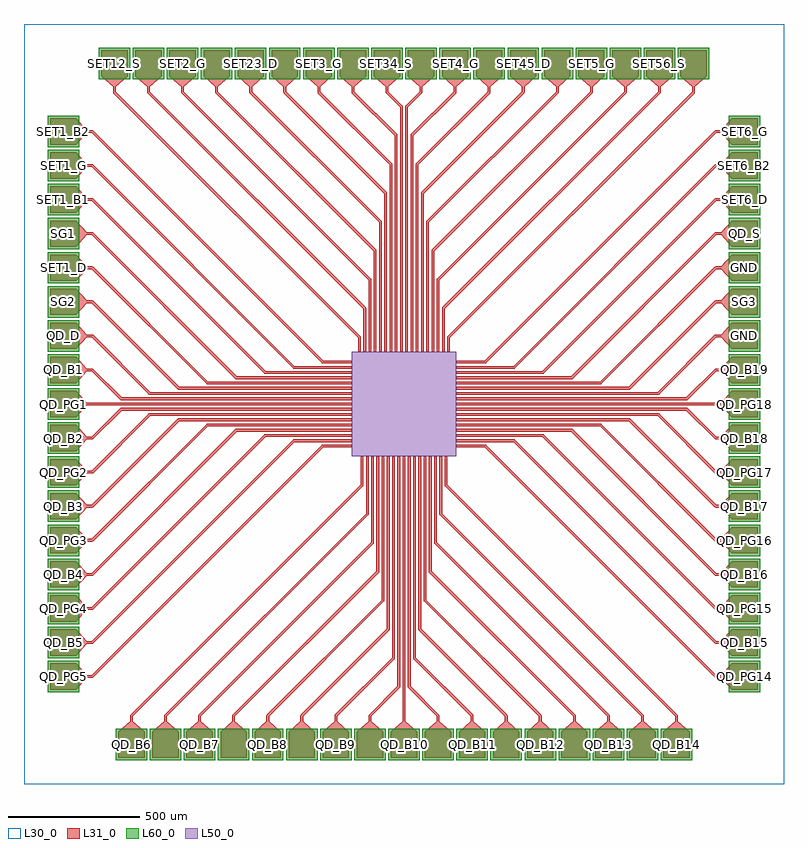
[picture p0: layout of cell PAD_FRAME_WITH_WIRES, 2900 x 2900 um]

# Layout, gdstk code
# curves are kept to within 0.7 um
import gdstk
lib = gdstk.Library(unit=1e-6, precision=1e-09)
def R(c, l, rs):  # rectangles x0, y0, x1, y1
    for r in rs: c.add(gdstk.rectangle(r[:2], r[2:], *l))
def A(c, l, x, y, w, h, nx, ny, dx, dy):  # array of equal rectangles
    R(c, l, [(x+i*dx, y+j*dy, x+i*dx+w, y+j*dy+h) for i in range(nx) for j in range(ny)])
def P(c, l, *ps):  # polygons
    for p in ps: c.add(gdstk.Polygon(p, *l))
L30_0 = (30, 0)
L31_0 = (31, 0)
L50_0 = (50, 0)
L60_0 = (60, 0)

pad_frame_with_wires = lib.new_cell('PAD_FRAME_WITH_WIRES')
R(pad_frame_with_wires, L30_0, [(0,0,2900,2900)])
A(pad_frame_with_wires, L31_0, 360, 100, 100, 100, 17, 1, 130, 0)
A(pad_frame_with_wires, L31_0, 100, 360, 100, 100, 1, 17, 0, 130)
A(pad_frame_with_wires, L31_0, 2700, 360, 100, 100, 1, 17, 0, 130)
A(pad_frame_with_wires, L31_0, 295, 2700, 100, 100, 18, 1, 130, 0)
P(pad_frame_with_wires, L31_0, [(295,2700),(395,2700),(350,2660),(340,2660)],
  [(425,2700),(525,2700),(480,2660),(470,2660)],
  [(555,2700),(655,2700),(610,2660),(600,2660)],
  [(685,2700),(785,2700),(740,2660),(730,2660)],
  [(815,2700),(915,2700),(870,2660),(860,2660)],
  [(945,2700),(1045,2700),(1000,2660),(990,2660)],
  [(1075,2700),(1175,2700),(1130,2660),(1120,2660)],
  [(1205,2700),(1305,2700),(1260,2660),(1250,2660)],
  [(1335,2700),(1435,2700),(1390,2660),(1380,2660)],
  [(1465,2700),(1565,2700),(1520,2660),(1510,2660)],
  [(1595,2700),(1695,2700),(1650,2660),(1640,2660)],
  [(1725,2700),(1825,2700),(1780,2660),(1770,2660)],
  [(1855,2700),(1955,2700),(1910,2660),(1900,2660)],
  [(1985,2700),(2085,2700),(2040,2660),(2030,2660)],
  [(2115,2700),(2215,2700),(2170,2660),(2160,2660)],
  [(2245,2700),(2345,2700),(2300,2660),(2290,2660)],
  [(2375,2700),(2475,2700),(2430,2660),(2420,2660)],
  [(2505,2700),(2605,2700),(2560,2660),(2550,2660)],
  [(360,200),(460,200),(415,240),(405,240)],
  [(490,200),(590,200),(545,240),(535,240)],
  [(620,200),(720,200),(675,240),(665,240)],
  [(750,200),(850,200),(805,240),(795,240)],
  [(880,200),(980,200),(935,240),(925,240)],
  [(1010,200),(1110,200),(1065,240),(1055,240)],
  [(1140,200),(1240,200),(1195,240),(1185,240)],
  [(1270,200),(1370,200),(1325,240),(1315,240)],
  [(1400,200),(1500,200),(1455,240),(1445,240)],
  [(1530,200),(1630,200),(1585,240),(1575,240)],
  [(1660,200),(1760,200),(1715,240),(1705,240)],
  [(1790,200),(1890,200),(1845,240),(1835,240)],
  [(1920,200),(2020,200),(1975,240),(1965,240)],
  [(2050,200),(2150,200),(2105,240),(2095,240)],
  [(2180,200),(2280,200),(2235,240),(2225,240)],
  [(2310,200),(2410,200),(2365,240),(2355,240)],
  [(2440,200),(2540,200),(2495,240),(2485,240)],
  [(200,2440),(200,2540),(240,2495),(240,2485)],
  [(200,2310),(200,2410),(240,2365),(240,2355)],
  [(200,2180),(200,2280),(240,2235),(240,2225)],
  [(200,2050),(200,2150),(240,2105),(240,2095)],
  [(200,1920),(200,2020),(240,1975),(240,1965)],
  [(200,1790),(200,1890),(240,1845),(240,1835)],
  [(200,1660),(200,1760),(240,1715),(240,1705)],
  [(200,1530),(200,1630),(240,1585),(240,1575)],
  [(200,1400),(200,1500),(240,1455),(240,1445)],
  [(200,1270),(200,1370),(240,1325),(240,1315)],
  [(200,1140),(200,1240),(240,1195),(240,1185)],
  [(200,1010),(200,1110),(240,1065),(240,1055)],
  [(200,880),(200,980),(240,935),(240,925)],
  [(200,750),(200,850),(240,805),(240,795)],
  [(200,620),(200,720),(240,675),(240,665)],
  [(200,490),(200,590),(240,545),(240,535)],
  [(200,360),(200,460),(240,415),(240,405)],
  [(2700,2440),(2700,2540),(2660,2495),(2660,2485)],
  [(2700,2310),(2700,2410),(2660,2365),(2660,2355)],
  [(2700,2180),(2700,2280),(2660,2235),(2660,2225)],
  [(2700,2050),(2700,2150),(2660,2105),(2660,2095)],
  [(2700,1920),(2700,2020),(2660,1975),(2660,1965)],
  [(2700,1790),(2700,1890),(2660,1845),(2660,1835)],
  [(2700,1660),(2700,1760),(2660,1715),(2660,1705)],
  [(2700,1530),(2700,1630),(2660,1585),(2660,1575)],
  [(2700,1400),(2700,1500),(2660,1455),(2660,1445)],
  [(2700,1270),(2700,1370),(2660,1325),(2660,1315)],
  [(2700,1140),(2700,1240),(2660,1195),(2660,1185)],
  [(2700,1010),(2700,1110),(2660,1065),(2660,1055)],
  [(2700,880),(2700,980),(2660,935),(2660,925)],
  [(2700,750),(2700,850),(2660,805),(2660,795)],
  [(2700,620),(2700,720),(2660,675),(2660,665)],
  [(2700,490),(2700,590),(2660,545),(2660,535)],
  [(2700,360),(2700,460),(2660,415),(2660,405)],
  [(350,2660),(340,2660),(340,2640),(341.464,2636.464),(1275,1702.929),(1275,1650),(1285,1650),(1285,1705),(1283.536,1708.536),(350,2642.071)],
  [(480,2660),(470,2660),(470,2640),(471.464,2636.464),(1295,1812.929),(1295,1650),(1305,1650),(1305,1815),(1303.967,1818.044),(480,2642.071)],
  [(610,2660),(600,2660),(600,2640),(601.464,2636.464),(1315,1922.929),(1315,1650),(1325,1650),(1325,1925),(1323.967,1928.044),(610,2642.071)],
  [(740,2660),(730,2660),(730,2640),(731.464,2636.464),(1335,2032.929),(1335,1650),(1345,1650),(1344.33,2037.5),(740,2642.071)],
  [(870,2660),(860,2660),(860,2640),(861.464,2636.464),(1355,2142.929),(1355,1650),(1365,1650),(1364.619,2146.913),(870,2642.071)],
  [(1000,2660),(990,2660),(990,2640),(991.464,2636.464),(1375,2252.929),(1375,1650),(1385,1650),(1384.619,2256.913),(1000,2642.071)],
  [(1130,2660),(1120,2660),(1120,2640),(1121.464,2636.464),(1395,2362.929),(1395,1650),(1405,1650),(1404.83,2366.294),(1130,2642.071)],
  [(1260,2660),(1250,2660),(1250,2640),(1251.033,2636.956),(1415,2472.929),(1415,1650),(1425,1650),(1424.957,2475.653),(1423.536,2478.536),(1260,2642.071)],
  [(1390,2660),(1380,2660),(1380.67,2637.5),(1435,2582.929),(1435,1650),(1445,1650),(1445,2585),(1443.536,2588.536),(1390,2642.071)],
  [(1520,2660),(1510,2660),(1510,2642.071),(1456.464,2588.536),(1455,2585),(1455,1650),(1465,1650),(1465,2582.929),(1518.967,2636.956),(1520,2640)],
  [(1650,2660),(1640,2660),(1640,2642.071),(1476.464,2478.536),(1475.043,2475.653),(1475,1650),(1485,1650),(1485,2472.929),(1648.536,2636.464),(1650,2640)],
  [(1780,2660),(1770,2660),(1770,2642.071),(1495.17,2366.294),(1495,1650),(1505,1650),(1505,2362.929),(1778.536,2636.464),(1780,2640)],
  [(1910,2660),(1900,2660),(1900,2642.071),(1515.381,2256.913),(1515,1650),(1525,1650),(1525,2252.929),(1908.536,2636.464),(1910,2640)],
  [(2040,2660),(2030,2660),(2030,2642.071),(1535.67,2147.5),(1535,1650),(1545,1650),(1545,2142.929),(2038.536,2636.464),(2040,2640)],
  [(2170,2660),(2160,2660),(2160,2642.071),(1555.67,2037.5),(1555,1650),(1565,1650),(1565,2032.929),(2168.536,2636.464),(2170,2640)],
  [(2300,2660),(2290,2660),(2290,2642.071),(1576.033,1928.044),(1575,1925),(1575,1650),(1585,1650),(1585,1922.929),(2298.536,2636.464),(2300,2640)],
  [(2430,2660),(2420,2660),(2420,2642.071),(1596.033,1818.044),(1595,1815),(1595,1650),(1605,1650),(1605,1812.929),(2428.536,2636.464),(2430,2640)],
  [(2560,2660),(2550,2660),(2550,2642.071),(1616.464,1708.536),(1615,1705),(1615,1650),(1625,1650),(1625,1702.929),(2558.536,2636.464),(2560,2640)],
  [(405,240),(415,240),(415,257.929),(1293.536,1136.464),(1295,1140),(1295,1250),(1285,1250),(1285,1142.071),(406.464,263.536),(405,260)],
  [(535,240),(545,240),(545,257.929),(1313.967,1026.956),(1315,1030),(1315,1250),(1305,1250),(1305,1032.071),(536.464,263.536),(535,260)],
  [(665,240),(675,240),(675,257.929),(1334.33,917.5),(1335,1250),(1325,1250),(1325,922.071),(666.464,263.536),(665,260)],
  [(795,240),(805,240),(805,257.929),(1354.33,807.5),(1355,1250),(1345,1250),(1345,812.071),(796.464,263.536),(795,260)],
  [(925,240),(935,240),(935,257.929),(1374.619,698.087),(1375,1250),(1365,1250),(1365,702.071),(926.464,263.536),(925,260)],
  [(1055,240),(1065,240),(1065,257.929),(1394.83,588.706),(1395,1250),(1385,1250),(1385,592.071),(1056.464,263.536),(1055,260)],
  [(1185,240),(1195,240),(1195,257.929),(1414.83,478.706),(1415,1250),(1405,1250),(1405,482.071),(1186.464,263.536),(1185,260)],
  [(1315,240),(1325,240),(1325,257.929),(1433.536,366.464),(1434.957,369.347),(1435,1250),(1425,1250),(1425,372.071),(1316.033,263.044),(1315,260)],
  [(1445,240),(1455,240),(1455,260),(1455,260),(1455,260),(1455,260),(1455,1250),(1445,1250),(1445,260),(1445,260),(1445,260),(1445,260)],
  [(1575,240),(1585,240),(1585,260),(1583.967,263.044),(1475,372.071),(1475,1250),(1465,1250),(1465.043,369.347),(1466.464,366.464),(1575,257.929)],
  [(1705,240),(1715,240),(1715,260),(1713.967,263.044),(1495,482.071),(1495,1250),(1485,1250),(1485.17,478.706),(1705,257.929)],
  [(1835,240),(1845,240),(1845,260),(1843.536,263.536),(1515,592.071),(1515,1250),(1505,1250),(1505.17,588.706),(1835,257.929)],
  [(1965,240),(1975,240),(1975,260),(1973.536,263.536),(1535,702.071),(1535,1250),(1525,1250),(1525.381,698.087),(1965,257.929)],
  [(2095,240),(2105,240),(2105,260),(2103.536,263.536),(1555,812.071),(1555,1250),(1545,1250),(1545.67,807.5),(2095,257.929)],
  [(2225,240),(2235,240),(2235,260),(2233.536,263.536),(1575,922.071),(1575,1250),(1565,1250),(1565.67,917.5),(2225,257.929)],
  [(2355,240),(2365,240),(2365,260),(2363.536,263.536),(1595,1032.071),(1595,1250),(1585,1250),(1585,1030),(1586.033,1026.956),(2355,257.929)],
  [(2485,240),(2495,240),(2495,260),(2493.536,263.536),(1615,1142.071),(1615,1250),(1605,1250),(1605,1140),(1606.033,1136.956),(2485,257.929)],
  [(240,2495),(240,2485),(257.929,2485),(1136.464,1606.464),(1140,1605),(1250,1605),(1250,1615),(1142.071,1615),(263.536,2493.536),(260,2495)],
  [(240,2365),(240,2355),(257.929,2355),(1026.956,1586.033),(1030,1585),(1250,1585),(1250,1595),(1032.071,1595),(263.536,2363.536),(260,2365)],
  [(240,2235),(240,2225),(257.929,2225),(917.5,1565.67),(1250,1565),(1250,1575),(922.071,1575),(263.536,2233.536),(260,2235)],
  [(240,2105),(240,2095),(257.929,2095),(807.5,1545.67),(1250,1545),(1250,1555),(812.071,1555),(263.536,2103.536),(260,2105)],
  [(240,1975),(240,1965),(257.929,1965),(698.087,1525.381),(1250,1525),(1250,1535),(702.071,1535),(263.536,1973.536),(260,1975)],
  [(240,1845),(240,1835),(257.929,1835),(588.706,1505.17),(1250,1505),(1250,1515),(592.071,1515),(263.536,1843.536),(260,1845)],
  [(240,1715),(240,1705),(257.929,1705),(478.706,1485.17),(1250,1485),(1250,1495),(482.071,1495),(263.536,1713.536),(260,1715)],
  [(240,1585),(240,1575),(257.929,1575),(366.464,1466.464),(369.347,1465.043),(1250,1465),(1250,1475),(372.071,1475),(263.044,1583.967),(260,1585)],
  [(240,1455),(240,1445),(260,1445),(260,1445),(260,1445),(260,1445),(1250,1445),(1250,1455),(260,1455),(260,1455),(260,1455),(260,1455)],
  [(240,1325),(240,1315),(260,1315),(263.044,1316.033),(372.071,1425),(1250,1425),(1250,1435),(369.347,1434.957),(366.464,1433.536),(257.929,1325)],
  [(240,1195),(240,1185),(260,1185),(263.044,1186.033),(482.071,1405),(1250,1405),(1250,1415),(478.706,1414.83),(257.929,1195)],
  [(240,1065),(240,1055),(260,1055),(263.536,1056.464),(592.071,1385),(1250,1385),(1250,1395),(588.706,1394.83),(257.929,1065)],
  [(240,935),(240,925),(260,925),(263.536,926.464),(702.071,1365),(1250,1365),(1250,1375),(698.087,1374.619),(257.929,935)],
  [(240,805),(240,795),(260,795),(263.536,796.464),(812.071,1345),(1250,1345),(1250,1355),(807.5,1354.33),(257.929,805)],
  [(240,675),(240,665),(260,665),(263.536,666.464),(922.071,1325),(1250,1325),(1250,1335),(917.5,1334.33),(257.929,675)],
  [(240,545),(240,535),(260,535),(263.536,536.464),(1032.071,1305),(1250,1305),(1250,1315),(1030,1315),(1026.956,1313.967),(257.929,545)],
  [(240,415),(240,405),(260,405),(263.536,406.464),(1142.071,1285),(1250,1285),(1250,1295),(1140,1295),(1136.956,1293.967),(257.929,415)],
  [(2660,2485),(2660,2495),(2640,2495),(2636.464,2493.536),(1757.929,1615),(1650,1615),(1650,1605),(1760,1605),(1763.044,1606.033),(2642.071,2485)],
  [(2660,2355),(2660,2365),(2640,2365),(2636.464,2363.536),(1867.929,1595),(1650,1595),(1650,1585),(1870,1585),(1873.044,1586.033),(2642.071,2355)],
  [(2660,2225),(2660,2235),(2640,2235),(2636.464,2233.536),(1977.929,1575),(1650,1575),(1650,1565),(1982.5,1565.67),(2642.071,2225)],
  [(2660,2095),(2660,2105),(2640,2105),(2636.464,2103.536),(2087.929,1555),(1650,1555),(1650,1545),(2092.5,1545.67),(2642.071,2095)],
  [(2660,1965),(2660,1975),(2640,1975),(2636.464,1973.536),(2197.929,1535),(1650,1535),(1650,1525),(2201.913,1525.381),(2642.071,1965)],
  [(2660,1835),(2660,1845),(2640,1845),(2636.464,1843.536),(2307.929,1515),(1650,1515),(1650,1505),(2311.294,1505.17),(2642.071,1835)],
  [(2660,1705),(2660,1715),(2640,1715),(2636.956,1713.967),(2417.929,1495),(1650,1495),(1650,1485),(2421.294,1485.17),(2642.071,1705)],
  [(2660,1575),(2660,1585),(2640,1585),(2636.956,1583.967),(2527.929,1475),(1650,1475),(1650,1465),(2530.653,1465.043),(2533.536,1466.464),(2642.071,1575)],
  [(2660,1445),(2660,1455),(2640,1455),(2640,1455),(2640,1455),(2640,1455),(1650,1455),(1650,1445),(2640,1445),(2640,1445),(2640,1445),(2640,1445)],
  [(2660,1315),(2660,1325),(2642.071,1325),(2533.536,1433.536),(2530.653,1434.957),(1650,1435),(1650,1425),(2527.929,1425),(2636.956,1316.033),(2640,1315)],
  [(2660,1185),(2660,1195),(2642.071,1195),(2421.294,1414.83),(1650,1415),(1650,1405),(2417.929,1405),(2636.464,1186.464),(2640,1185)],
  [(2660,1055),(2660,1065),(2642.071,1065),(2311.294,1394.83),(1650,1395),(1650,1385),(2307.929,1385),(2636.464,1056.464),(2640,1055)],
  [(2660,925),(2660,935),(2642.071,935),(2201.913,1374.619),(1650,1375),(1650,1365),(2197.929,1365),(2636.464,926.464),(2640,925)],
  [(2660,795),(2660,805),(2642.071,805),(2092.5,1354.33),(1650,1355),(1650,1345),(2087.929,1345),(2636.464,796.464),(2640,795)],
  [(2660,665),(2660,675),(2642.071,675),(1982.5,1334.33),(1650,1335),(1650,1325),(1977.929,1325),(2636.464,666.464),(2640,665)],
  [(2660,535),(2660,545),(2642.071,545),(1873.044,1313.967),(1870,1315),(1650,1315),(1650,1305),(1867.929,1305),(2636.464,536.464),(2640,535)],
  [(2660,405),(2660,415),(2642.071,415),(1763.536,1293.536),(1760,1295),(1650,1295),(1650,1285),(1757.929,1285),(2636.464,406.464),(2640,405)])
R(pad_frame_with_wires, L50_0, [(1250,1250,1650,1650)])
A(pad_frame_with_wires, L60_0, 350, 90, 120, 120, 17, 1, 130, 0)
A(pad_frame_with_wires, L60_0, 90, 350, 120, 120, 1, 17, 0, 130)
A(pad_frame_with_wires, L60_0, 2690, 350, 120, 120, 1, 17, 0, 130)
A(pad_frame_with_wires, L60_0, 285, 2690, 120, 120, 18, 1, 130, 0)
pad_frame_with_wires.add(gdstk.Label('SET12_S', (345,2750), layer=40, texttype=0))
pad_frame_with_wires.add(gdstk.Label('SET2_B1', (475,2750), layer=40, texttype=0))
pad_frame_with_wires.add(gdstk.Label('SET2_G', (605,2750), layer=40, texttype=0))
pad_frame_with_wires.add(gdstk.Label('SET2_B2', (735,2750), layer=40, texttype=0))
pad_frame_with_wires.add(gdstk.Label('SET23_D', (865,2750), layer=40, texttype=0))
pad_frame_with_wires.add(gdstk.Label('SET3_B1', (995,2750), layer=40, texttype=0))
pad_frame_with_wires.add(gdstk.Label('SET3_G', (1125,2750), layer=40, texttype=0))
pad_frame_with_wires.add(gdstk.Label('SET3_B2', (1255,2750), layer=40, texttype=0))
pad_frame_with_wires.add(gdstk.Label('SET34_S', (1385,2750), layer=40, texttype=0))
pad_frame_with_wires.add(gdstk.Label('SET4_B1', (1515,2750), layer=40, texttype=0))
pad_frame_with_wires.add(gdstk.Label('SET4_G', (1645,2750), layer=40, texttype=0))
pad_frame_with_wires.add(gdstk.Label('SET4_B2', (1775,2750), layer=40, texttype=0))
pad_frame_with_wires.add(gdstk.Label('SET45_D', (1905,2750), layer=40, texttype=0))
pad_frame_with_wires.add(gdstk.Label('SET5_B1', (2035,2750), layer=40, texttype=0))
pad_frame_with_wires.add(gdstk.Label('SET5_G', (2165,2750), layer=40, texttype=0))
pad_frame_with_wires.add(gdstk.Label('SET5_B2', (2295,2750), layer=40, texttype=0))
pad_frame_with_wires.add(gdstk.Label('SET56_S', (2425,2750), layer=40, texttype=0))
pad_frame_with_wires.add(gdstk.Label('SET6_B1', (2555,2750), layer=40, texttype=0))
pad_frame_with_wires.add(gdstk.Label('QD_B6', (410,150), layer=40, texttype=0))
pad_frame_with_wires.add(gdstk.Label('QD_PG6', (540,150), layer=40, texttype=0))
pad_frame_with_wires.add(gdstk.Label('QD_B7', (670,150), layer=40, texttype=0))
pad_frame_with_wires.add(gdstk.Label('QD_PG7', (800,150), layer=40, texttype=0))
pad_frame_with_wires.add(gdstk.Label('QD_B8', (930,150), layer=40, texttype=0))
pad_frame_with_wires.add(gdstk.Label('QD_PG8', (1060,150), layer=40, texttype=0))
pad_frame_with_wires.add(gdstk.Label('QD_B9', (1190,150), layer=40, texttype=0))
pad_frame_with_wires.add(gdstk.Label('QD_PG9', (1320,150), layer=40, texttype=0))
pad_frame_with_wires.add(gdstk.Label('QD_B10', (1450,150), layer=40, texttype=0))
pad_frame_with_wires.add(gdstk.Label('QD_PG10', (1580,150), layer=40, texttype=0))
pad_frame_with_wires.add(gdstk.Label('QD_B11', (1710,150), layer=40, texttype=0))
pad_frame_with_wires.add(gdstk.Label('QD_PG11', (1840,150), layer=40, texttype=0))
pad_frame_with_wires.add(gdstk.Label('QD_B12', (1970,150), layer=40, texttype=0))
pad_frame_with_wires.add(gdstk.Label('QD_PG12', (2100,150), layer=40, texttype=0))
pad_frame_with_wires.add(gdstk.Label('QD_B13', (2230,150), layer=40, texttype=0))
pad_frame_with_wires.add(gdstk.Label('QD_PG13', (2360,150), layer=40, texttype=0))
pad_frame_with_wires.add(gdstk.Label('QD_B14', (2490,150), layer=40, texttype=0))
pad_frame_with_wires.add(gdstk.Label('SET1_B2', (150,2490), layer=40, texttype=0))
pad_frame_with_wires.add(gdstk.Label('SET1_G', (150,2360), layer=40, texttype=0))
pad_frame_with_wires.add(gdstk.Label('SET1_B1', (150,2230), layer=40, texttype=0))
pad_frame_with_wires.add(gdstk.Label('SG1', (150,2100), layer=40, texttype=0))
pad_frame_with_wires.add(gdstk.Label('SET1_D', (150,1970), layer=40, texttype=0))
pad_frame_with_wires.add(gdstk.Label('SG2', (150,1840), layer=40, texttype=0))
pad_frame_with_wires.add(gdstk.Label('QD_D', (150,1710), layer=40, texttype=0))
pad_frame_with_wires.add(gdstk.Label('QD_B1', (150,1580), layer=40, texttype=0))
pad_frame_with_wires.add(gdstk.Label('QD_PG1', (150,1450), layer=40, texttype=0))
pad_frame_with_wires.add(gdstk.Label('QD_B2', (150,1320), layer=40, texttype=0))
pad_frame_with_wires.add(gdstk.Label('QD_PG2', (150,1190), layer=40, texttype=0))
pad_frame_with_wires.add(gdstk.Label('QD_B3', (150,1060), layer=40, texttype=0))
pad_frame_with_wires.add(gdstk.Label('QD_PG3', (150,930), layer=40, texttype=0))
pad_frame_with_wires.add(gdstk.Label('QD_B4', (150,800), layer=40, texttype=0))
pad_frame_with_wires.add(gdstk.Label('QD_PG4', (150,670), layer=40, texttype=0))
pad_frame_with_wires.add(gdstk.Label('QD_B5', (150,540), layer=40, texttype=0))
pad_frame_with_wires.add(gdstk.Label('QD_PG5', (150,410), layer=40, texttype=0))
pad_frame_with_wires.add(gdstk.Label('SET6_G', (2750,2490), layer=40, texttype=0))
pad_frame_with_wires.add(gdstk.Label('SET6_B2', (2750,2360), layer=40, texttype=0))
pad_frame_with_wires.add(gdstk.Label('SET6_D', (2750,2230), layer=40, texttype=0))
pad_frame_with_wires.add(gdstk.Label('QD_S', (2750,2100), layer=40, texttype=0))
pad_frame_with_wires.add(gdstk.Label('GND', (2750,1970), layer=40, texttype=0))
pad_frame_with_wires.add(gdstk.Label('SG3', (2750,1840), layer=40, texttype=0))
pad_frame_with_wires.add(gdstk.Label('GND', (2750,1710), layer=40, texttype=0))
pad_frame_with_wires.add(gdstk.Label('QD_B19', (2750,1580), layer=40, texttype=0))
pad_frame_with_wires.add(gdstk.Label('QD_PG18', (2750,1450), layer=40, texttype=0))
pad_frame_with_wires.add(gdstk.Label('QD_B18', (2750,1320), layer=40, texttype=0))
pad_frame_with_wires.add(gdstk.Label('QD_PG17', (2750,1190), layer=40, texttype=0))
pad_frame_with_wires.add(gdstk.Label('QD_B17', (2750,1060), layer=40, texttype=0))
pad_frame_with_wires.add(gdstk.Label('QD_PG16', (2750,930), layer=40, texttype=0))
pad_frame_with_wires.add(gdstk.Label('QD_B16', (2750,800), layer=40, texttype=0))
pad_frame_with_wires.add(gdstk.Label('QD_PG15', (2750,670), layer=40, texttype=0))
pad_frame_with_wires.add(gdstk.Label('QD_B15', (2750,540), layer=40, texttype=0))
pad_frame_with_wires.add(gdstk.Label('QD_PG14', (2750,410), layer=40, texttype=0))

lib.write_gds('PAD_FRAME_WITH_WIRES.gds')
